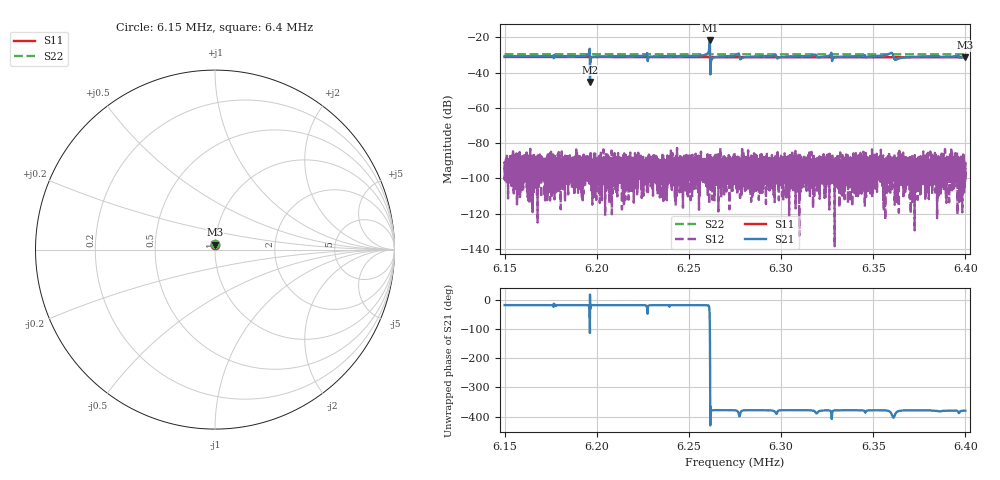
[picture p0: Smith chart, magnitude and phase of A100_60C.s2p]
!CETC41,AV3656A,ZGL00048,1.3.2
!Calibration ON (Full Solt 2-Port(Omit Isolation))
!Measurements: S11 S21 S12 S22
!2025-04-18 23:27
# Hz  S  dB  R 50.000
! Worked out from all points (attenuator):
!   6401 points, 6.15 MHz to 6.4 MHz, reference 50 ohm
!   highest |S21| = -21.69 dB at 6.2613 MHz (marker M1); lowest = -45.2 dB at 6.1963 MHz (marker M2)
!   lowest |S11| = -31.3 dB at 6.3998 MHz (marker M3), VSWR 1.06, Z = 49.9 + j2.72 ohm
!   |S11| at or under -10 dB: start of sweep to end of sweep
!   |S22| runs from -29.5 to -29.5 dB; largest |S21 - S12| = 0.082
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6150000  -31.07 84.4  -30.66 -17.5  -91.61 -58.2  -29.50 91.5
6191680  -31.11 85.4  -30.46 -17.5  -87.86 52.7  -29.50 92.4
6194961  -31.11 85.5  -29.98 -17.9  -98.08 90.5  -29.51 92.5
6196328  -31.12 85.5  -45.22 18.7  -92.00 43.4  -29.50 92.5
6197539  -31.12 85.6  -31.21 -17.7  -93.89 37.9  -29.51 92.5
6233359  -31.14 86.4  -30.68 -17.8  -92.94 -120.0  -29.52 93.3
6256680  -31.14 87.0  -30.21 -17.9  -93.11 102.4  -29.51 93.8
6260195  -31.17 87.1  -29.04 -18.4  -92.05 -57.7  -29.51 93.8
6261328  -31.18 87.1  -21.69 -80.9  -94.51 39.2  -29.52 93.9
6262734  -31.19 87.2  -31.89 -18.2  -94.01 35.3  -29.52 94.0
6275000  -31.18 87.4  -30.13 -18.4  -96.76 -127.9  -29.51 94.2
6278750  -31.20 87.6  -31.74 -20.0  -90.03 119.3  -29.52 94.3
6316680  -31.23 88.5  -30.19 -18.7  -95.04 -45.1  -29.53 95.0
6320781  -31.23 88.6  -31.21 -20.8  -96.77 -9.3  -29.53 95.1
6326250  -31.24 88.7  -30.24 -18.6  -93.31 60.7  -29.53 95.2
6328789  -31.24 88.7  -31.42 -18.8  -93.86 51.5  -29.53 95.3
6358359  -31.26 89.5  -29.43 -20.6  -107.18 68.9  -29.53 95.9
6359766  -31.26 89.5  -28.71 -29.0  -88.88 118.0  -29.53 95.9
6362539  -31.26 89.6  -32.54 -25.6  -95.46 128.8  -29.53 95.9
6381211  -31.27 90.0  -30.64 -18.9  -103.90 64.1  -29.53 96.3
6399805  -31.30 90.4  -31.09 -19.3  -96.15 -40.0  -29.53 96.7
6400000  -31.29 90.4  -31.06 -19.3  -99.53 129.4  -29.54 96.7
